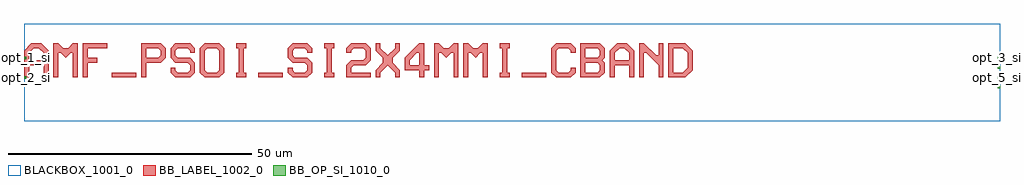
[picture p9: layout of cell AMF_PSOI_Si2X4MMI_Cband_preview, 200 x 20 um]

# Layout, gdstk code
import gdstk
lib = gdstk.Library(unit=1e-6, precision=1e-09)
def R(c, l, rs):  # rectangles x0, y0, x1, y1
    for r in rs: c.add(gdstk.rectangle(r[:2], r[2:], *l))
def A(c, l, x, y, w, h, nx, ny, dx, dy):  # array of equal rectangles
    R(c, l, [(x+i*dx, y+j*dy, x+i*dx+w, y+j*dy+h) for i in range(nx) for j in range(ny)])
def P(c, l, *ps):  # polygons
    for p in ps: c.add(gdstk.Polygon(p, *l))
BLACKBOX_1001_0 = (1001, 0)
BB_LABEL_1002_0 = (1002, 0)
BB_OP_SI_1010_0 = (1010, 0)

amf_psoi_si2x4mmi_cband_ = lib.new_cell('AMF_PSOI_Si2X4MMI_Cband_preview')
R(amf_psoi_si2x4mmi_cband_, BLACKBOX_1001_0, [(0,-9,200,11)])
R(amf_psoi_si2x4mmi_cband_, BB_LABEL_1002_0, [(18.031,-0.002,23.031,0.998), (48.031,-0.002,53.031,0.998), (102.031,-0.002,107.031,0.998)])
P(amf_psoi_si2x4mmi_cband_, BB_LABEL_1002_0, [(0.031,-0.002),(0.031,5.498),(1.531,6.998),(3.531,6.998),(4.531,5.998),(2.031,5.998),(1.031,4.998),(1.031,3.498),(4.031,3.498),(4.031,4.998),(3.031,5.998),(4.531,5.998),(5.031,5.498),(5.031,-0.002),(4.031,-0.002),(4.031,2.498),(1.031,2.498),(1.031,-0.002)],
  [(6.031,-0.002),(6.031,6.998),(7.031,6.998),(8.031,5.998),(9.031,5.998),(10.031,6.998),(11.031,6.998),(11.031,-0.002),(10.031,-0.002),(10.031,4.998),(9.531,4.998),(8.531,3.998),(7.531,4.998),(7.031,4.998),(7.031,-0.002)],
  [(12.031,-0.002),(12.031,6.998),(17.031,6.998),(17.031,5.998),(13.031,5.998),(13.031,3.998),(15.031,3.998),(15.031,2.998),(13.031,2.998),(13.031,-0.002)],
  [(24.031,-0.002),(24.031,6.998),(28.031,6.998),(29.031,5.998),(29.031,3.998),(28.031,2.998),(25.031,2.998),(25.031,3.998),(27.531,3.998),(28.031,4.498),(28.031,5.498),(27.531,5.998),(25.031,5.998),(25.031,-0.002)],
  [(31.031,-0.002),(30.031,0.998),(30.031,1.998),(31.031,1.998),(31.031,1.498),(31.531,0.998),(33.531,0.998),(34.031,1.498),(34.031,2.498),(33.531,2.998),(31.031,2.998),(30.031,3.998),(30.031,5.998),(31.031,6.998),(34.031,6.998),(35.031,5.998),(35.031,4.998),(34.031,4.998),(34.031,5.498),(33.531,5.998),(31.531,5.998),(31.031,5.498),(31.031,4.498),(31.531,3.998),(34.031,3.998),(35.031,2.998),(35.031,0.998),(34.031,-0.002)],
  [(37.031,-0.002),(36.031,0.998),(36.031,5.998),(37.031,6.998),(40.031,6.998),(41.031,5.998),(41.031,3.498),(40.031,3.498),(40.031,5.498),(39.531,5.998),(37.531,5.998),(37.031,5.498),(37.031,1.498),(37.531,0.998),(39.531,0.998),(40.031,1.498),(40.031,3.498),(41.031,3.498),(41.031,0.998),(40.031,-0.002)],
  [(43.531,-0.002),(43.531,0.998),(44.031,0.998),(44.031,5.998),(43.531,5.998),(43.531,6.998),(45.531,6.998),(45.531,5.998),(45.031,5.998),(45.031,0.998),(45.531,0.998),(45.531,-0.002)],
  [(55.031,-0.002),(54.031,0.998),(54.031,1.998),(55.031,1.998),(55.031,1.498),(55.531,0.998),(57.531,0.998),(58.031,1.498),(58.031,2.498),(57.531,2.998),(55.031,2.998),(54.031,3.998),(54.031,5.998),(55.031,6.998),(58.031,6.998),(59.031,5.998),(59.031,4.998),(58.031,4.998),(58.031,5.498),(57.531,5.998),(55.531,5.998),(55.031,5.498),(55.031,4.498),(55.531,3.998),(58.031,3.998),(59.031,2.998),(59.031,0.998),(58.031,-0.002)],
  [(61.531,-0.002),(61.531,0.998),(62.031,0.998),(62.031,5.998),(61.531,5.998),(61.531,6.998),(63.531,6.998),(63.531,5.998),(63.031,5.998),(63.031,0.998),(63.531,0.998),(63.531,-0.002)],
  [(66.031,-0.002),(66.031,2.498),(67.031,3.498),(69.531,3.498),(70.031,3.998),(70.031,5.498),(69.531,5.998),(67.531,5.998),(67.031,5.498),(67.031,4.998),(66.031,4.998),(66.031,5.998),(67.031,6.998),(70.031,6.998),(71.031,5.998),(71.031,3.498),(70.031,2.498),(67.531,2.498),(67.031,1.998),(67.031,0.998),(71.031,0.998),(71.031,-0.002)],
  [(72.031,-0.002),(72.031,1.498),(73.531,2.998),(73.531,3.998),(72.031,5.498),(72.031,6.998),(73.031,6.998),(73.031,5.998),(74.531,4.498),(76.031,5.998),(76.031,6.998),(77.031,6.998),(77.031,5.498),(75.531,3.998),(75.531,2.998),(77.031,1.498),(77.031,-0.002),(76.031,-0.002),(76.031,0.998),(74.531,2.498),(73.031,0.998),(73.031,-0.002)],
  [(81.031,-0.002),(81.031,1.498),(78.031,1.498),(78.031,2.498),(81.031,2.498),(81.031,4.998),(80.531,4.998),(79.031,3.498),(79.031,2.498),(78.031,2.498),(78.031,3.998),(81.031,6.998),(82.031,6.998),(82.031,2.498),(83.031,2.498),(83.031,1.498),(82.031,1.498),(82.031,-0.002)],
  [(84.031,-0.002),(84.031,6.998),(85.031,6.998),(86.031,5.998),(87.031,5.998),(88.031,6.998),(89.031,6.998),(89.031,-0.002),(88.031,-0.002),(88.031,4.998),(87.531,4.998),(86.531,3.998),(85.531,4.998),(85.031,4.998),(85.031,-0.002)],
  [(90.031,-0.002),(90.031,6.998),(91.031,6.998),(92.031,5.998),(93.031,5.998),(94.031,6.998),(95.031,6.998),(95.031,-0.002),(94.031,-0.002),(94.031,4.998),(93.531,4.998),(92.531,3.998),(91.531,4.998),(91.031,4.998),(91.031,-0.002)],
  [(97.531,-0.002),(97.531,0.998),(98.031,0.998),(98.031,5.998),(97.531,5.998),(97.531,6.998),(99.531,6.998),(99.531,5.998),(99.031,5.998),(99.031,0.998),(99.531,0.998),(99.531,-0.002)],
  [(109.031,-0.002),(108.031,0.998),(108.031,5.998),(109.031,6.998),(112.031,6.998),(113.031,5.998),(113.031,4.998),(112.031,4.998),(112.031,5.498),(111.531,5.998),(109.531,5.998),(109.031,5.498),(109.031,1.498),(109.531,0.998),(111.531,0.998),(112.031,1.498),(112.031,1.998),(113.031,1.998),(113.031,0.998),(112.031,-0.002)],
  [(114.031,-0.002),(114.031,6.998),(118.031,6.998),(119.031,5.998),(115.031,5.998),(115.031,3.998),(117.531,3.998),(118.031,4.498),(118.031,5.498),(117.531,5.998),(119.031,5.998),(119.031,3.998),(118.531,3.498),(119.031,2.998),(115.031,2.998),(115.031,0.998),(117.531,0.998),(118.031,1.498),(118.031,2.498),(117.531,2.998),(119.031,2.998),(119.031,0.998),(118.031,-0.002)],
  [(120.031,-0.002),(120.031,5.498),(121.531,6.998),(123.531,6.998),(124.531,5.998),(122.031,5.998),(121.031,4.998),(121.031,3.498),(124.031,3.498),(124.031,4.998),(123.031,5.998),(124.531,5.998),(125.031,5.498),(125.031,-0.002),(124.031,-0.002),(124.031,2.498),(121.031,2.498),(121.031,-0.002)],
  [(126.031,-0.002),(126.031,6.998),(127.031,6.998),(129.531,4.498),(130.031,4.498),(130.031,6.998),(131.031,6.998),(131.031,-0.002),(130.031,-0.002),(130.031,2.498),(127.531,4.998),(127.031,4.998),(127.031,-0.002)],
  [(132.031,-0.002),(132.031,6.998),(135.531,6.998),(136.531,5.998),(133.031,5.998),(133.031,0.998),(135.031,0.998),(136.031,1.998),(136.031,4.998),(135.031,5.998),(136.531,5.998),(137.031,5.498),(137.031,1.498),(135.531,-0.002)])
A(amf_psoi_si2x4mmi_cband_, BB_OP_SI_1010_0, 199.5, -2.25, 0.5, 0.5, 1, 4, 0, 2)
R(amf_psoi_si2x4mmi_cband_, BB_OP_SI_1010_0, [(0,-0.25,0.5,0.25), (0,3.75,0.5,4.25)])
amf_psoi_si2x4mmi_cband_.add(gdstk.Label('opt_2_si', (0,0), layer=1010, texttype=0))
amf_psoi_si2x4mmi_cband_.add(gdstk.Label('opt_3_si', (200,4), layer=1010, texttype=0))
amf_psoi_si2x4mmi_cband_.add(gdstk.Label('opt_4_si', (200,2), layer=1010, texttype=0))
amf_psoi_si2x4mmi_cband_.add(gdstk.Label('opt_5_si', (200,0), layer=1010, texttype=0))
amf_psoi_si2x4mmi_cband_.add(gdstk.Label('opt_6_si', (200,-2), layer=1010, texttype=0))
amf_psoi_si2x4mmi_cband_.add(gdstk.Label('opt_1_si', (0,4), layer=1010, texttype=0))

lib.write_gds('AMF_PSOI_Si2X4MMI_Cband_preview.gds')
